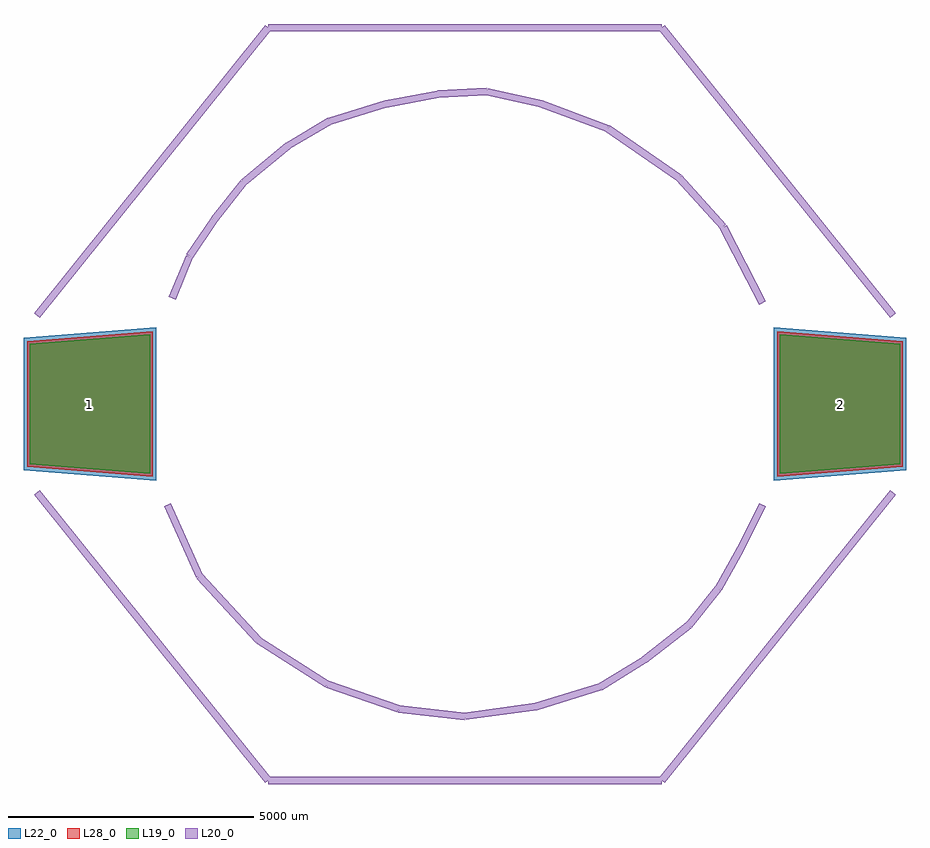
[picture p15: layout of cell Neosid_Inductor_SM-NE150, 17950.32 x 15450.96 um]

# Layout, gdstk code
import gdstk
lib = gdstk.Library(unit=1e-6, precision=1e-09)
def P(c, l, *ps):  # polygons
    for p in ps: c.add(gdstk.Polygon(p, *l))
L19_0 = (19, 0)
L20_0 = (20, 0)
L22_0 = (22, 0)
L28_0 = (28, 0)

neosid_inductor_sm_ne150 = lib.new_cell('Neosid_Inductor_SM-NE150')
P(neosid_inductor_sm_ne150, L19_0, [(-8850.16,-1228.86),(-8850.16,1228.86),(-6400,1421.651),(-6400,-1421.651)],
  [(6400,-1421.651),(6400,1421.651),(8850.16,1228.86),(8850.16,-1228.86)])
P(neosid_inductor_sm_ne150, L22_0, [(-8975.16,-1344.411),(-8975.16,1344.411),(-6275,1556.873),(-6275,-1556.873)],
  [(6275,-1556.873),(6275,1556.873),(8975.16,1344.411),(8975.16,-1344.411)])
P(neosid_inductor_sm_ne150, L28_0, [(-8900.16,-1275.08),(-8900.16,1275.08),(-6350,1475.74),(-6350,-1475.74)],
  [(6350,-1475.74),(6350,1475.74),(8900.16,1275.08),(8900.16,-1275.08)])
neosid_inductor_sm_ne150.add(gdstk.FlexPath([(-4000.5,7650.48),(-8699.5,1800.86)], 149.998, ends="flush", simple_path=True, layer=20, datatype=0))  # L20_0
neosid_inductor_sm_ne150.add(gdstk.FlexPath([(4000.5,7650.48),(-4000.5,7650.48)], 149.998, ends="flush", simple_path=True, layer=20, datatype=0))  # L20_0
neosid_inductor_sm_ne150.add(gdstk.FlexPath([(8699.5,1800.86),(4000.5,7650.48)], 149.998, ends="flush", simple_path=True, layer=20, datatype=0))  # L20_0
neosid_inductor_sm_ne150.add(gdstk.FlexPath([(-4000.5,-7650.48),(-8699.5,-1800.86)], 149.998, ends="flush", simple_path=True, layer=20, datatype=0))  # L20_0
neosid_inductor_sm_ne150.add(gdstk.FlexPath([(4000.5,-7650.48),(-4000.5,-7650.48)], 149.998, ends="flush", simple_path=True, layer=20, datatype=0))  # L20_0
neosid_inductor_sm_ne150.add(gdstk.FlexPath([(8699.5,-1800.86),(4000.5,-7650.48)], 149.998, ends="flush", simple_path=True, layer=20, datatype=0))  # L20_0
neosid_inductor_sm_ne150.add(gdstk.FlexPath([(-5400.04,-3500.12),(-6050.28,-2049.78)], 149.998, ends="flush", simple_path=True, layer=20, datatype=0))  # L20_0
neosid_inductor_sm_ne150.add(gdstk.FlexPath([(-4201.16,-4800.6),(-5400.04,-3500.12)], 149.998, ends="flush", simple_path=True, layer=20, datatype=0))  # L20_0
neosid_inductor_sm_ne150.add(gdstk.FlexPath([(-2799.08,-5699.76),(-4201.16,-4800.6)], 149.998, ends="flush", simple_path=True, layer=20, datatype=0))  # L20_0
neosid_inductor_sm_ne150.add(gdstk.FlexPath([(-1348.74,-6200.14),(-2799.08,-5699.76)], 149.998, ends="flush", simple_path=True, layer=20, datatype=0))  # L20_0
neosid_inductor_sm_ne150.add(gdstk.FlexPath([(0,-6350),(-1348.74,-6200.14)], 149.998, ends="flush", simple_path=True, layer=20, datatype=0))  # L20_0
neosid_inductor_sm_ne150.add(gdstk.FlexPath([(1450.34,-6149.34),(0,-6350)], 149.998, ends="flush", simple_path=True, layer=20, datatype=0))  # L20_0
neosid_inductor_sm_ne150.add(gdstk.FlexPath([(2750.82,-5750.56),(1450.34,-6149.34)], 149.998, ends="flush", simple_path=True, layer=20, datatype=0))  # L20_0
neosid_inductor_sm_ne150.add(gdstk.FlexPath([(3649.98,-5199.38),(2750.82,-5750.56)], 149.998, ends="flush", simple_path=True, layer=20, datatype=0))  # L20_0
neosid_inductor_sm_ne150.add(gdstk.FlexPath([(4549.14,-4500.88),(3649.98,-5199.38)], 149.998, ends="flush", simple_path=True, layer=20, datatype=0))  # L20_0
neosid_inductor_sm_ne150.add(gdstk.FlexPath([(5151.12,-3749.04),(4549.14,-4500.88)], 149.998, ends="flush", simple_path=True, layer=20, datatype=0))  # L20_0
neosid_inductor_sm_ne150.add(gdstk.FlexPath([(5600.7,-2948.94),(5151.12,-3749.04)], 149.998, ends="flush", simple_path=True, layer=20, datatype=0))  # L20_0
neosid_inductor_sm_ne150.add(gdstk.FlexPath([(6050.28,-2049.78),(5600.7,-2948.94)], 149.998, ends="flush", simple_path=True, layer=20, datatype=0))  # L20_0
neosid_inductor_sm_ne150.add(gdstk.FlexPath([(5250.18,3599.18),(6050.28,2049.78)], 149.998, ends="flush", simple_path=True, layer=20, datatype=0))  # L20_0
neosid_inductor_sm_ne150.add(gdstk.FlexPath([(4351.02,4599.94),(5250.18,3599.18)], 149.998, ends="flush", simple_path=True, layer=20, datatype=0))  # L20_0
neosid_inductor_sm_ne150.add(gdstk.FlexPath([(2900.68,5600.7),(4351.02,4599.94)], 149.998, ends="flush", simple_path=True, layer=20, datatype=0))  # L20_0
neosid_inductor_sm_ne150.add(gdstk.FlexPath([(1549.4,6101.08),(2900.68,5600.7)], 149.998, ends="flush", simple_path=True, layer=20, datatype=0))  # L20_0
neosid_inductor_sm_ne150.add(gdstk.FlexPath([(449.58,6350),(1549.4,6101.08)], 149.998, ends="flush", simple_path=True, layer=20, datatype=0))  # L20_0
neosid_inductor_sm_ne150.add(gdstk.FlexPath([(-551.18,6299.2),(449.58,6350)], 149.998, ends="flush", simple_path=True, layer=20, datatype=0))  # L20_0
neosid_inductor_sm_ne150.add(gdstk.FlexPath([(-1600.2,6101.08),(-551.18,6299.2)], 149.998, ends="flush", simple_path=True, layer=20, datatype=0))  # L20_0
neosid_inductor_sm_ne150.add(gdstk.FlexPath([(-2750.82,5750.56),(-1600.2,6101.08)], 149.998, ends="flush", simple_path=True, layer=20, datatype=0))  # L20_0
neosid_inductor_sm_ne150.add(gdstk.FlexPath([(-3599.18,5250.18),(-2750.82,5750.56)], 149.998, ends="flush", simple_path=True, layer=20, datatype=0))  # L20_0
neosid_inductor_sm_ne150.add(gdstk.FlexPath([(-4500.88,4500.88),(-3599.18,5250.18)], 149.998, ends="flush", simple_path=True, layer=20, datatype=0))  # L20_0
neosid_inductor_sm_ne150.add(gdstk.FlexPath([(-5100.32,3749.04),(-4500.88,4500.88)], 149.998, ends="flush", simple_path=True, layer=20, datatype=0))  # L20_0
neosid_inductor_sm_ne150.add(gdstk.FlexPath([(-5600.7,2999.74),(-5100.32,3749.04)], 149.998, ends="flush", simple_path=True, layer=20, datatype=0))  # L20_0
neosid_inductor_sm_ne150.add(gdstk.FlexPath([(-5951.22,2148.84),(-5600.7,2999.74)], 149.998, ends="flush", simple_path=True, layer=20, datatype=0))  # L20_0
neosid_inductor_sm_ne150.add(gdstk.Label('1', (-7625.08,0), layer=28, texttype=0))
neosid_inductor_sm_ne150.add(gdstk.Label('2', (7625.08,0), layer=28, texttype=0))
neosid_inductor_sm_ne150.add(gdstk.Label('type', (-99.06,-10050.78), layer=9, texttype=0))
neosid_inductor_sm_ne150.add(gdstk.Label('devicename', (-50.8,8950.96), layer=9, texttype=0))

lib.write_gds('Neosid_Inductor_SM-NE150.gds')
